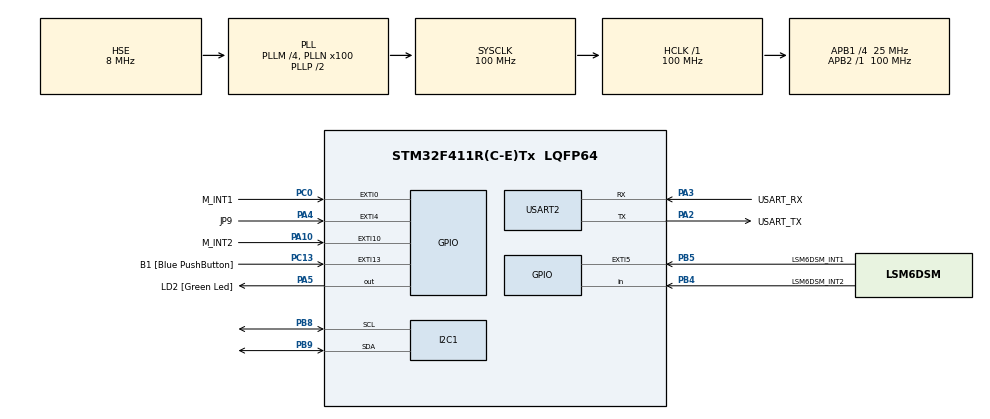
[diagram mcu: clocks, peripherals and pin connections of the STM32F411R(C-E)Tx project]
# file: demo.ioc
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I2C1.I2C_Mode=I2C_Fast
Mcu.Family=STM32F4
Mcu.Name=STM32F411R(C-E)Tx
Mcu.Package=LQFP64
NVIC.EXTI0_IRQn=true\:0\:0\:false\:false\:true\:true\:true\:true
NVIC.EXTI15_10_IRQn=true\:0\:0\:false\:false\:true\:true\:true\:true
NVIC.EXTI4_IRQn=true\:0\:0\:false\:false\:true\:true\:true\:true
NVIC.EXTI9_5_IRQn=true\:0\:0\:false\:false\:true\:true\:true\:true
NVIC.PriorityGroup=NVIC_PRIORITYGROUP_0
NVIC.USART2_IRQn=true\:0\:0\:false\:true\:true\:1\:true\:true\:true
PA10.GPIO_Label=M_INT2
PA10.Signal=GPXTI10
PA13.GPIO_Label=TMS
PA13.Signal=SYS_JTMS-SWDIO
PA14.GPIO_Label=TCK
PA14.Signal=SYS_JTCK-SWCLK
PA2.GPIO_Label=USART_TX
PA2.Mode=Asynchronous
PA2.Signal=USART2_TX
PA3.GPIO_Label=USART_RX
PA3.Mode=Asynchronous
PA3.Signal=USART2_RX
PA4.GPIO_Label=JP9
PA4.Signal=GPXTI4
PA5.GPIO_Label=LD2 [Green Led]
PA5.Signal=GPIO_Output
PB3.GPIO_Label=SWO
PB3.Signal=SYS_JTDO-SWO
PB4.GPIO_Label=LSM6DSM_INT2
PB4.Signal=GPIO_Input
PB5.GPIO_Label=LSM6DSM_INT1
PB5.Signal=GPXTI5
PB8.GPIO_Pu=GPIO_PULLUP
PB8.Mode=I2C
PB8.Signal=I2C1_SCL
PB9.GPIO_Pu=GPIO_PULLUP
PB9.Mode=I2C
PB9.Signal=I2C1_SDA
PC0.GPIO_Label=M_INT1
PC0.Signal=GPXTI0
PC13-ANTI_TAMP.GPIO_Label=B1 [Blue PushButton]
PC13-ANTI_TAMP.GPIO_ModeDefaultEXTI=GPIO_MODE_EVT_RISING
PC13-ANTI_TAMP.Signal=GPXTI13
PC14-OSC32_IN.Signal=RCC_OSC32_IN
PC15-OSC32_OUT.Signal=RCC_OSC32_OUT
PH0\ -\ OSC_IN.Mode=HSE-External-Oscillator
PH0\ -\ OSC_IN.Signal=RCC_OSC_IN
PH1\ -\ OSC_OUT.Mode=HSE-External-Oscillator
PH1\ -\ OSC_OUT.Signal=RCC_OSC_OUT
ProjectManager.HeapSize=0x200
ProjectManager.StackSize=0x400
ProjectManager.TargetToolchain=STM32CubeIDE
RCC.48MHZClocksFreq_Value=50000000
RCC.AHBFreq_Value=100000000
RCC.APB1CLKDivider=RCC_HCLK_DIV4
RCC.APB1Freq_Value=25000000
RCC.APB1TimFreq_Value=50000000
RCC.APB2Freq_Value=100000000
RCC.APB2TimFreq_Value=100000000
RCC.CortexFreq_Value=100000000
RCC.FLatency-AdvancedSettings=FLASH_LATENCY_3
RCC.HCLKFreq_Value=100000000
RCC.HSE_VALUE=8000000
RCC.HSI_VALUE=16000000
RCC.LSE_VALUE=32768
RCC.PLLM=4
RCC.PLLN=100
RCC.PLLSourceVirtual=RCC_PLLSOURCE_HSE
RCC.SYSCLKFreq_VALUE=100000000
RCC.SYSCLKSource=RCC_SYSCLKSOURCE_PLLCLK
RCC.VCOOutputFreq_Value=200000000
USART2.VirtualMode=VM_ASYNC
board=NUCLEO-F411RE

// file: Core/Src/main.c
/* USER CODE BEGIN Header */
/**
  ******************************************************************************
  * @file           : main.c
  * @brief          : Main program body
  ******************************************************************************
  * @attention
  *
  * Copyright (c) 2023 STMicroelectronics.
  * All rights reserved.
  *
  * @ref https://github.com/STMicroelectronics/STMems_Standard_C_drivers/tree/master
  *
  * This software is licensed under terms that can be found in the LICENSE file
  * in the root directory of this software component.
  * If no LICENSE file comes with this software, it is provided AS-IS.
  *
  ******************************************************************************
  */
/* USER CODE END Header */
#include "main.h"
#include "i2c.h"
#include "usart.h"
#include "gpio.h"

/* USER CODE BEGIN Includes */
#include "lsm6dso_reg.h"
#include "stts751_reg.h"
#include "features.h"

#include <stdio.h>
/* USER CODE END Includes */

void SystemClock_Config(void);
static void MX_NVIC_Init(void);
/* USER CODE BEGIN PFP */
static int32_t platform_write_lsm6dso(void *handle, uint8_t reg,
                      const uint8_t *bufp, uint16_t len);
static int32_t platform_read_lsm6dso(void *handle, uint8_t reg,
                     uint8_t *bufp, uint16_t len);
static int32_t platform_write_stss751(void *handle, uint8_t reg,
                      const uint8_t *bufp, uint16_t len);
static int32_t platform_read_stss751(void *handle, uint8_t reg,
                     uint8_t *bufp, uint16_t len);
/* USER CODE END PFP */

/* USER CODE BEGIN 0 */
int _write(int file, char *buf, int len)
{
  (void)file;
  HAL_UART_Transmit(&huart2, (const uint8_t *)buf, len, HAL_MAX_DELAY);
  return len;
}
/* USER CODE END 0 */

int main(void)
{

  /* MCU Configuration--------------------------------------------------------*/

  /* Reset of all peripherals, Initializes the Flash interface and the Systick. */
  HAL_Init();

  /* Configure the system clock */
  SystemClock_Config();

  /* Initialize all configured peripherals */
  MX_GPIO_Init();
  MX_USART2_UART_Init();
  MX_I2C1_Init();

  /* Initialize interrupts */
  MX_NVIC_Init();
  /* USER CODE BEGIN 2 */

  printf("Initialize sensors\n");

  // --------------------------------------------------------------------------
  // LSM6DSO initialize
  // --------------------------------------------------------------------------

  stmdev_ctx_t dev_ctx_lsm6dso =
  {
    platform_write_lsm6dso, platform_read_lsm6dso, HAL_Delay, &hi2c1
  };

  // Delay boot time
  HAL_Delay(200);

  uint8_t id_lsm6dso;
  lsm6dso_device_id_get(&dev_ctx_lsm6dso, &id_lsm6dso);

  if(id_lsm6dso != LSM6DSO_ID)
  {
    printf("LSM6DSO not found\n");
    while(1)
    {}
  }

  // Restore default configuration
  lsm6dso_reset_set(&dev_ctx_lsm6dso, PROPERTY_ENABLE);

  uint8_t reg;
  do
  {
    lsm6dso_reset_get(&dev_ctx_lsm6dso, &reg);
  }while(reg);

  // Disable I3C interface
  lsm6dso_i3c_disable_set(&dev_ctx_lsm6dso, LSM6DSO_I3C_DISABLE);

  // Enable Block Data Update
  lsm6dso_block_data_update_set(&dev_ctx_lsm6dso, PROPERTY_ENABLE);

  // Set Output Data Rate
  lsm6dso_xl_data_rate_set(&dev_ctx_lsm6dso, LSM6DSO_XL_ODR_104Hz);
  lsm6dso_gy_data_rate_set(&dev_ctx_lsm6dso, LSM6DSO_XL_ODR_OFF);

  // Set full scale
  lsm6dso_xl_full_scale_set(&dev_ctx_lsm6dso, LSM6DSO_2g);
  lsm6dso_gy_full_scale_set(&dev_ctx_lsm6dso, LSM6DSO_2000dps);

  // Configure filtering chain (No aux interface)
  // Accelerometer - LPF1 + LPF2 path
//  lsm6dso_xl_hp_path_on_out_set(&dev_ctx_lsm6dso, LSM6DSO_LP_ODR_DIV_100);
//  lsm6dso_xl_filter_lp2_set(&dev_ctx_lsm6dso, PROPERTY_ENABLE);

  printf("LSM6DSO okay\n");
  printf("ODR = 104Hz\n");
  printf("+/-2g output scale\r\n");

  // --------------------------------------------------------------------------
  // STTS751 initialize
  // --------------------------------------------------------------------------

  stmdev_ctx_t dev_ctx_stss751 =
  {
    platform_write_stss751, platform_read_stss751, HAL_Delay, &hi2c1
  };

  stts751_id_t whoamI_stts751;
  stts751_device_id_get(&dev_ctx_stss751, &whoamI_stts751);

  if((whoamI_stts751.product_id != STTS751_ID_1xxxx) ||
     (whoamI_stts751.manufacturer_id != STTS751_ID_MAN) ||
     (whoamI_stts751.revision_id != STTS751_REV))
  {
    printf("STTS751 not found\n");
    while(1);
  }

  // Set Output Data Rate
  stts751_temp_data_rate_set(&dev_ctx_stss751, STTS751_TEMP_ODR_1Hz);

  // Set Resolution
  stts751_resolution_set(&dev_ctx_stss751, STTS751_11bit);

  printf("STTS751 okay\n");
  printf("ODR = 1Hz\n");

  /* USER CODE END 2 */

  /* Infinite loop */
  while(1)
  {

    /* USER CODE BEGIN 3 */

    // ----------------------------------------------------------------------
    uint8_t data;
    if(HAL_UART_Receive(&huart2, &data, 1, 0) == HAL_OK)
    {
      if(data == ' ')
      {
        HAL_GPIO_WritePin(LD2_GPIO_Port, LD2_Pin, GPIO_PIN_SET);
        HAL_Delay(10);
        HAL_GPIO_WritePin(LD2_GPIO_Port, LD2_Pin, GPIO_PIN_RESET);
      }
    }

    // ----------------------------------------------------------------------
    int16_t data_raw_acceleration[3] = {0};
    float acceleration_mg[3] = {0};

    // Read output only if new xl value is available
    reg = 0;
    lsm6dso_xl_flag_data_ready_get(&dev_ctx_lsm6dso, &reg);

    if(reg)
    {
      // Set initial timestamp
      uint32_t ms1 = HAL_GetTick();

      // Read acceleration field data
      lsm6dso_acceleration_raw_get(&dev_ctx_lsm6dso, data_raw_acceleration);
      acceleration_mg[0] = lsm6dso_from_fs2_to_mg(data_raw_acceleration[0]);
      acceleration_mg[1] = lsm6dso_from_fs2_to_mg(data_raw_acceleration[1]);
      acceleration_mg[2] = lsm6dso_from_fs2_to_mg(data_raw_acceleration[2]);

      // ----------------------------------------------------------------------
      //int16_t data_raw_temperature = 0;
      //
      //// Read temperature data
      //stts751_temperature_raw_get(&dev_ctx_stss751, &data_raw_temperature);
      //float temperature_degC = stts751_from_lsb_to_celsius(data_raw_temperature);
      //
      // ----------------------------------------------------------------------

      // Set final timestamp
      uint32_t ms2 = HAL_GetTick();

      // Send the data
      printf("%d,%d,%.1f,%.1f,%.1f\n",
        (int)ms1,
        (int)ms2,
        (double)(acceleration_mg[0]),
        (double)(acceleration_mg[1]),
        (double)(acceleration_mg[2]));

      // TODO Implement filter functions as required by the application.

      // TODO Implement normalization functions as required by the
      //      application.

      // TODO Finish this example by designing an ML model and implement the
      //      generated C code.

      // ----------------------------------------------------------------------

    }
  }
  /* USER CODE END 3 */
}

void SystemClock_Config(void)
{
  RCC_OscInitTypeDef RCC_OscInitStruct = {0};
  RCC_ClkInitTypeDef RCC_ClkInitStruct = {0};

  /** Configure the main internal regulator output voltage
  */
  __HAL_RCC_PWR_CLK_ENABLE();
  __HAL_PWR_VOLTAGESCALING_CONFIG(PWR_REGULATOR_VOLTAGE_SCALE1);

  /** Initializes the RCC Oscillators according to the specified parameters
  * in the RCC_OscInitTypeDef structure.
  */
  RCC_OscInitStruct.OscillatorType = RCC_OSCILLATORTYPE_HSE;
  RCC_OscInitStruct.HSEState = RCC_HSE_ON;
  RCC_OscInitStruct.PLL.PLLState = RCC_PLL_ON;
  RCC_OscInitStruct.PLL.PLLSource = RCC_PLLSOURCE_HSE;
  RCC_OscInitStruct.PLL.PLLM = 4;
  RCC_OscInitStruct.PLL.PLLN = 100;
  RCC_OscInitStruct.PLL.PLLP = RCC_PLLP_DIV2;
  RCC_OscInitStruct.PLL.PLLQ = 4;
  if (HAL_RCC_OscConfig(&RCC_OscInitStruct) != HAL_OK)
  {
    Error_Handler();
  }

  /** Initializes the CPU, AHB and APB buses clocks
  */
  RCC_ClkInitStruct.ClockType = RCC_CLOCKTYPE_HCLK|RCC_CLOCKTYPE_SYSCLK
                              |RCC_CLOCKTYPE_PCLK1|RCC_CLOCKTYPE_PCLK2;
  RCC_ClkInitStruct.SYSCLKSource = RCC_SYSCLKSOURCE_PLLCLK;
  RCC_ClkInitStruct.AHBCLKDivider = RCC_SYSCLK_DIV1;
  RCC_ClkInitStruct.APB1CLKDivider = RCC_HCLK_DIV4;
  RCC_ClkInitStruct.APB2CLKDivider = RCC_HCLK_DIV1;

  if (HAL_RCC_ClockConfig(&RCC_ClkInitStruct, FLASH_LATENCY_3) != HAL_OK)
  {
    Error_Handler();
  }
}

/**
  * @brief NVIC Configuration.
  * @retval None
  */
static void MX_NVIC_Init(void)
{
  /* USART2_IRQn interrupt configuration */
  HAL_NVIC_SetPriority(USART2_IRQn, 0, 0);
  HAL_NVIC_EnableIRQ(USART2_IRQn);
}

void Error_Handler(void)
{
  __disable_irq();
  while (1)
  {
  }
}

/*
 * @brief  Write generic device register (platform dependent)
 *
 * @param  handle    customizable argument. In this examples is used in
 *                   order to select the correct sensor bus handler.
 * @param  reg       register to write
 * @param  bufp      pointer to data to write in register reg
 * @param  len       number of consecutive register to write
 *
 */
static int32_t platform_write_stss751(void *handle, uint8_t reg,
                      const uint8_t *bufp, uint16_t len)
{
  return HAL_I2C_Mem_Write(handle, STTS751_1xxxx_ADD_7K5, reg,
                           I2C_MEMADD_SIZE_8BIT, (uint8_t*) bufp, len, 1000);
}

/*
 * @brief  Read generic device register (platform dependent)
 *
 * @param  handle    customizable argument. In this examples is used in
 *                   order to select the correct sensor bus handler.
 * @param  reg       register to read
 * @param  bufp      pointer to buffer that store the data read
 * @param  len       number of consecutive register to read
 *
 */
static int32_t platform_read_stss751(void *handle, uint8_t reg,
                     uint8_t *bufp, uint16_t len)
{
  return HAL_I2C_Mem_Read(handle, STTS751_1xxxx_ADD_7K5, reg,
                          I2C_MEMADD_SIZE_8BIT, bufp, len, 1000);
}

/*
 * @brief  Write generic device register (platform dependent)
 *
 * @param  handle    customizable argument. In this examples is used in
 *                   order to select the correct sensor bus handler.
 * @param  reg       register to write
 * @param  bufp      pointer to data to write in register reg
 * @param  len       number of consecutive register to write
 *
 */
static int32_t platform_write_lsm6dso(void *handle, uint8_t reg,
                      const uint8_t *bufp, uint16_t len)
{
  return HAL_I2C_Mem_Write(handle, LSM6DSO_I2C_ADD_H, reg,
                           I2C_MEMADD_SIZE_8BIT, (uint8_t*) bufp, len, 1000);
}

/*
 * @brief  Read generic device register (platform dependent)
 *
 * @param  handle    customizable argument. In this examples is used in
 *                   order to select the correct sensor bus handler.
 * @param  reg       register to read
 * @param  bufp      pointer to buffer that store the data read
 * @param  len       number of consecutive register to read
 *
 */
static int32_t platform_read_lsm6dso(void *handle, uint8_t reg,
                     uint8_t *bufp, uint16_t len)
{
  return HAL_I2C_Mem_Read(handle, LSM6DSO_I2C_ADD_H, reg,
                          I2C_MEMADD_SIZE_8BIT, bufp, len, 1000);
}
